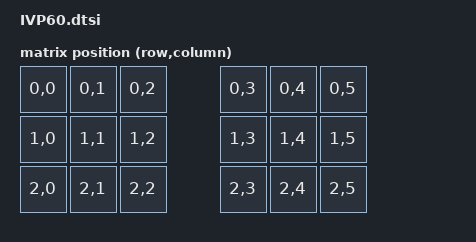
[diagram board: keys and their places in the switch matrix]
#include <dt-bindings/zmk/matrix_transform.h> 
// Put this with the other includes at the top of your dtsi

/ {
	default_transform: keymap_transform0 {
		
		compatible = "zmk,matrix-transform";
		columns = <6>;
		rows = <3>;
		map = <
		//	LKey 1
				RC(0,0)	RC(0,1)	RC(0,2)			RC(0,3)	RC(0,4)	RC(0,5)
		//	LKey 1
				RC(1,0)	RC(1,1)	RC(1,2)			RC(1,3)	RC(1,4)	RC(1,5)
		//	LKey 1
				RC(2,0)	RC(2,1)	RC(2,2)			RC(2,3)	RC(2,4)	RC(2,5)
		>;
	};
};

/ {
	default_layout: default_layout {
		compatible = "zmk,physical-layout";
		display-name = "Default Layout";
		transform = <&default_transform>;
		kscan = <&kscan0>;
	};
};

/ {
	chosen {
		zmk,physical-layout = &default_layout;
		// Other chosen items
	};
};


